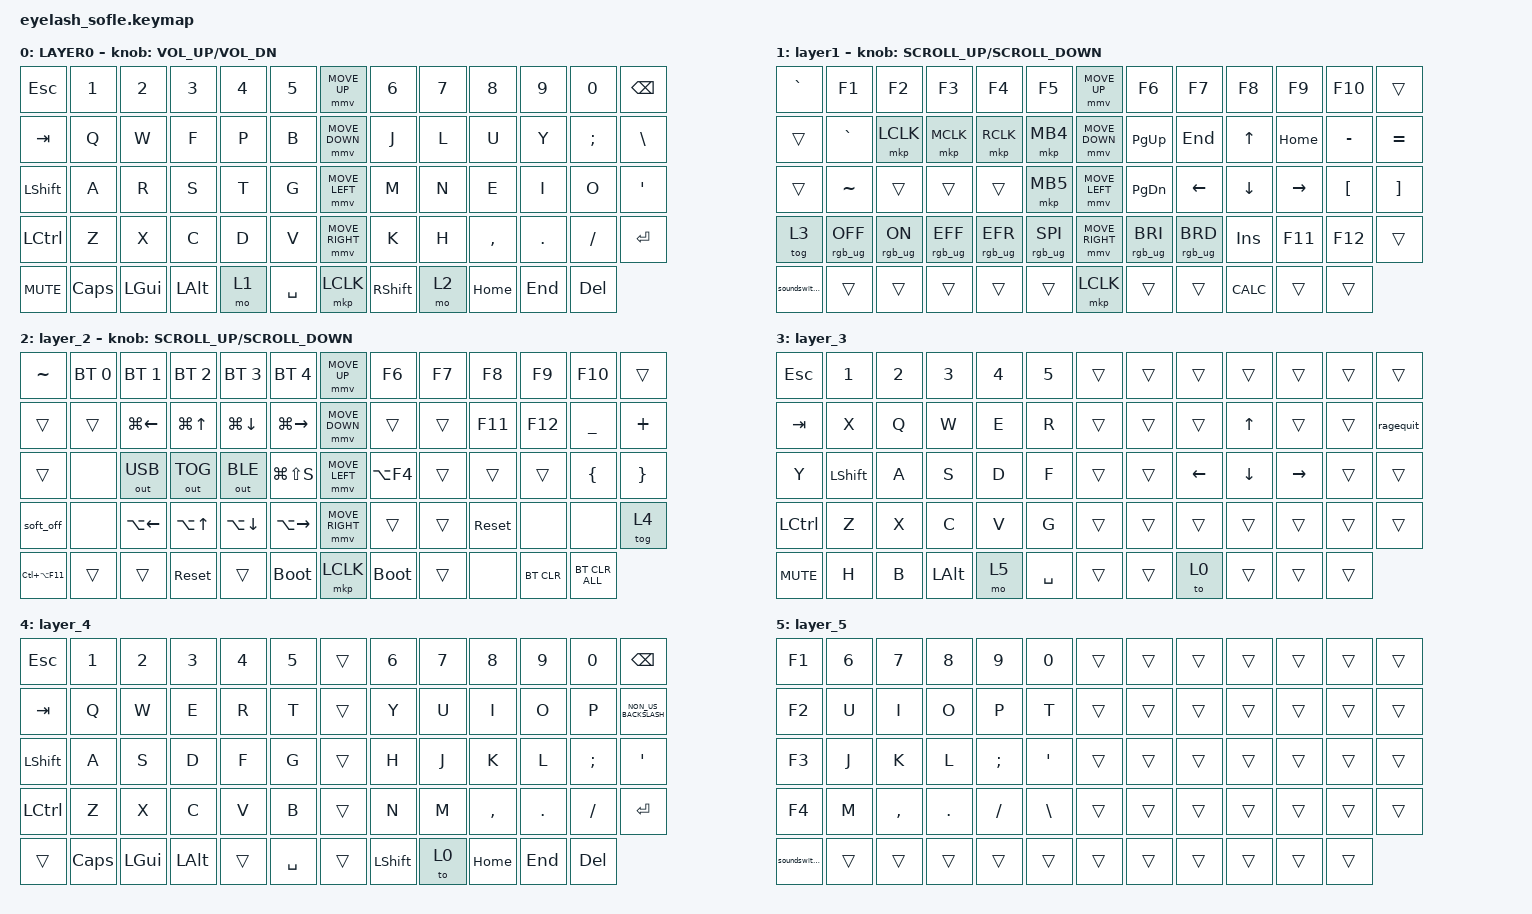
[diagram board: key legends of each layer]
#define ZMK_POINTING_DEFAULT_MOVE_VAL 1200  // 600
#define ZMK_POINTING_DEFAULT_SCRL_VAL 35    // 10

#include <input/processors.dtsi>
#include <zephyr/dt-bindings/input/input-event-codes.h>
#include <behaviors.dtsi>
#include <dt-bindings/zmk/bt.h>
#include <dt-bindings/zmk/keys.h>
#include <dt-bindings/zmk/outputs.h>
#include <dt-bindings/zmk/pointing.h>
#include <dt-bindings/zmk/rgb.h>

/ {
    zip_scroll_scaler: zip_scroll_scaler {
        compatible = "zmk,input-processor-scaler";
        #input-processor-cells = <2>;
        type = <INPUT_EV_REL>;
        codes = <INPUT_REL_WHEEL INPUT_REL_HWHEEL>;
        track-remainders;
    };
};

&mmv_input_listener { input-processors = <&zip_xy_scaler 2 1>; };

&msc_input_listener { input-processors = <&zip_scroll_scaler 2 1>; };

&msc {
    acceleration-exponent = <0>;      // 0
    time-to-max-speed-ms = <0>;       // 300
    delay-ms = <0>;                   // 0
};

&mmv {
    time-to-max-speed-ms = <500>;
    acceleration-exponent = <1>;
};

/ {
    scroll_encoder: scroll_encoder {
        compatible = "zmk,behavior-sensor-rotate";
        #sensor-binding-cells = <0>;
        bindings = <&msc SCRL_DOWN>, <&msc SCRL_UP>;

        tap-ms = <30>;
    };

    behaviors {
    };

    macros {
        ragequit: ragequit {
            compatible = "zmk,behavior-macro";
            #binding-cells = <0>;
            bindings = <&kp LA(F4) &to 0>;
            label = "RAGEQUIT";
        };

        soundswitch: soundswitch {
            compatible = "zmk,behavior-macro";
            #binding-cells = <0>;
            bindings = <&kp LC(LA(F11))>;
            label = "SOUNDSWITCH";
        };
    };

    keymap {
        compatible = "zmk,keymap";

        layer0 {
            bindings = <
&kp ESC         &kp N1    &kp N2        &kp N3        &kp N4  &kp N5       &mmv MOVE_UP     &kp N6           &kp N7  &kp N8     &kp N9   &kp N0         &kp BACKSPACE
&kp TAB         &kp Q     &kp W         &kp F         &kp P   &kp B        &mmv MOVE_DOWN   &kp J            &kp L   &kp U      &kp Y    &kp SEMICOLON  &kp BSLH
&kp LEFT_SHIFT  &kp A     &kp R         &kp S         &kp T   &kp G        &mmv MOVE_LEFT   &kp M            &kp N   &kp E      &kp I    &kp O          &kp APOS
&kp LCTRL       &kp Z     &kp X         &kp C         &kp D   &kp V        &mmv MOVE_RIGHT  &kp K            &kp H   &kp COMMA  &kp DOT  &kp FSLH       &kp ENTER
&kp C_MUTE      &kp CAPS  &kp LEFT_GUI  &kp LEFT_ALT  &mo 1   &kp SPACE    &mkp LCLK        &kp RIGHT_SHIFT  &mo 2   &kp HOME   &kp END  &kp DELETE
            >;

            sensor-bindings = <&inc_dec_kp C_VOLUME_UP C_VOL_DN>;
            display-name = "LAYER0";
        };

        layer_1 {
            bindings = <
&kp GRAVE     &kp F1           &kp F2          &kp F3           &kp F4           &kp F5             &mmv MOVE_UP     &kp F6           &kp F7           &kp F8      &kp F9     &kp F10           &trans
&trans        &kp GRAVE        &mkp LCLK       &mkp MCLK        &mkp RCLK        &mkp MB4           &mmv MOVE_DOWN   &kp PG_UP        &kp END          &kp UP      &kp HOME   &kp MINUS         &kp EQUAL
&trans        &kp TILDE        &trans          &trans           &trans           &mkp MB5           &mmv MOVE_LEFT   &kp PG_DN        &kp LEFT         &kp DOWN    &kp RIGHT  &kp LEFT_BRACKET  &kp RIGHT_BRACKET
&tog 3        &rgb_ug RGB_OFF  &rgb_ug RGB_ON  &rgb_ug RGB_EFF  &rgb_ug RGB_EFR  &rgb_ug RGB_SPI    &mmv MOVE_RIGHT  &rgb_ug RGB_BRI  &rgb_ug RGB_BRD  &kp INSERT  &kp F11    &kp F12           &trans
&soundswitch  &trans           &trans          &trans           &trans           &trans             &mkp LCLK        &trans           &trans           &kp K_CALC  &trans     &trans
            >;

            display-name = "layer1";
            sensor-bindings = <&inc_dec_kp K_SCROLL_UP K_SCROLL_DOWN>;
        };

        layer_2 {
            bindings = <
&kp TILDE        &bt BT_SEL 0  &bt BT_SEL 1  &bt BT_SEL 2  &bt BT_SEL 3  &bt BT_SEL 4     &mmv MOVE_UP     &kp F6       &kp F7  &kp F8      &kp F9      &kp F10         &trans
&trans           &trans        &kp LG(LEFT)  &kp LG(UP)    &kp LG(DOWN)  &kp LG(RIGHT)    &mmv MOVE_DOWN   &trans       &trans  &kp F11     &kp F12     &kp UNDER       &kp PLUS
&trans           &none         &out OUT_USB  &out OUT_TOG  &out OUT_BLE  &kp LG(LS(S))    &mmv MOVE_LEFT   &kp LA(F4)   &trans  &trans      &trans      &kp LBRC        &kp RBRC
&soft_off        &none         &kp LA(LEFT)  &kp LA(UP)    &kp LA(DOWN)  &kp LA(RIGHT)    &mmv MOVE_RIGHT  &trans       &trans  &sys_reset  &none       &none           &tog 4
&kp LC(LA(F11))  &trans        &trans        &sys_reset    &trans        &bootloader      &mkp LCLK        &bootloader  &trans  &none       &bt BT_CLR  &bt BT_CLR_ALL
            >;

            sensor-bindings = <&inc_dec_kp K_SCROLL_UP K_SCROLL_DOWN>;
        };

        layer_3 {
            bindings = <
&kp ESC     &kp NUMBER_1    &kp NUMBER_2  &kp NUMBER_3  &kp NUMBER_4  &kp NUMBER_5    &trans  &trans  &trans          &trans          &trans           &trans  &trans
&kp TAB     &kp X           &kp Q         &kp W         &kp E         &kp R           &trans  &trans  &trans          &kp UP_ARROW    &trans           &trans  &ragequit
&kp Y       &kp LEFT_SHIFT  &kp A         &kp S         &kp D         &kp F           &trans  &trans  &kp LEFT_ARROW  &kp DOWN_ARROW  &kp RIGHT_ARROW  &trans  &trans
&kp LCTRL   &kp Z           &kp X         &kp C         &kp V         &kp G           &trans  &trans  &trans          &trans          &trans           &trans  &trans
&kp C_MUTE  &kp H           &kp B         &kp LEFT_ALT  &mo 5         &kp SPACE       &trans  &trans  &to 0           &trans          &trans           &trans
            >;
        };

        layer_4 {
            bindings = <
&kp ESC    &kp N1    &kp N2    &kp N3    &kp N4  &kp N5       &trans  &kp N6     &kp N7  &kp N8     &kp N9   &kp N0    &kp BSPC
&kp TAB    &kp Q     &kp W     &kp E     &kp R   &kp T        &trans  &kp Y      &kp U   &kp I      &kp O    &kp P     &kp NON_US_BACKSLASH
&kp LSHFT  &kp A     &kp S     &kp D     &kp F   &kp G        &trans  &kp H      &kp J   &kp K      &kp L    &kp SEMI  &kp APOS
&kp LCTRL  &kp Z     &kp X     &kp C     &kp V   &kp B        &trans  &kp N      &kp M   &kp COMMA  &kp DOT  &kp FSLH  &kp ENTER
&trans     &kp CAPS  &kp LGUI  &kp LALT  &trans  &kp SPACE    &trans  &kp LSHFT  &to 0   &kp HOME   &kp END  &kp DEL
            >;
        };

        layer_5 {
            bindings = <
&kp F1        &kp N6  &kp N7     &kp N8   &kp N9    &kp N0           &trans  &trans  &trans  &trans  &trans  &trans  &trans
&kp F2        &kp U   &kp I      &kp O    &kp P     &kp T            &trans  &trans  &trans  &trans  &trans  &trans  &trans
&kp F3        &kp J   &kp K      &kp L    &kp SEMI  &kp APOS         &trans  &trans  &trans  &trans  &trans  &trans  &trans
&kp F4        &kp M   &kp COMMA  &kp DOT  &kp FSLH  &kp BACKSLASH    &trans  &trans  &trans  &trans  &trans  &trans  &trans
&soundswitch  &trans  &trans     &trans   &trans    &trans           &trans  &trans  &trans  &trans  &trans  &trans
            >;
        };
    };
};
